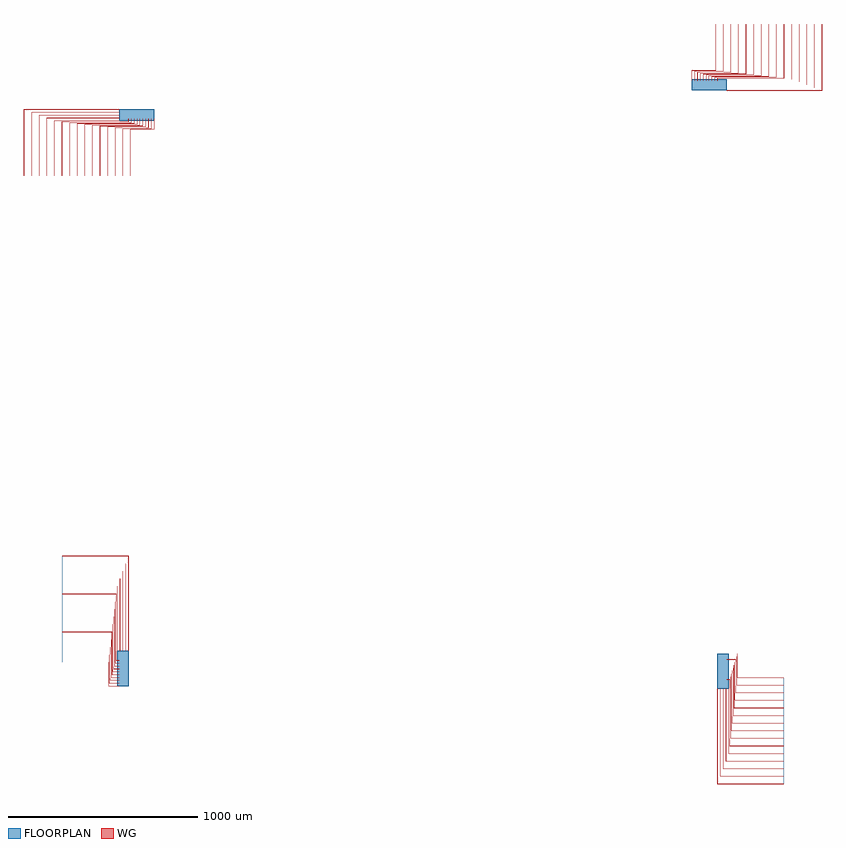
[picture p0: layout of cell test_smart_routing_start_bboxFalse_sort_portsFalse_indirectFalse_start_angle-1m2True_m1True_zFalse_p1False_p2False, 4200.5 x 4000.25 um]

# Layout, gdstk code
import gdstk
lib = gdstk.Library(unit=1e-6, precision=1e-09)
def R(c, l, rs):  # rectangles x0, y0, x1, y1
    for r in rs: c.add(gdstk.rectangle(r[:2], r[2:], *l))
def P(c, l, *ps):  # polygons
    for p in ps: c.add(gdstk.Polygon(p, *l))
WG = (1, 0)
FLOORPLAN = (10, 0)

test_smart_routing_start = lib.new_cell('test_smart_routing_start_bboxFalse_sort_portsFalse_indirectFalse_start_angle-1m2True_m1True_zFalse_p1False_p2False')
P(test_smart_routing_start, WG, [(-50.25,100),(-50.25,599.75),(-400,599.75),(-400,600.25),(-49.75,600.25),(-49.75,100)],
  [(-65.25,100),(-65.25,559.75),(-400,559.75),(-400,560.25),(-64.75,560.25),(-64.75,100)],
  [(-80.25,100),(-80.25,519.75),(-400,519.75),(-400,520.25),(-79.75,520.25),(-79.75,100)],
  [(-95.25,100),(-95.25,479.75),(-400,479.75),(-400,480.25),(-94.75,480.25),(-94.75,100)],
  [(-110.25,100),(-110.25,439.75),(-400,439.75),(-400,440.25),(-109.75,440.25),(-109.75,100)],
  [(-114.75,49.75),(-114.75,399.75),(-400,399.75),(-400,400.25),(-114.25,400.25),(-114.25,50.25),(-100,50.25),(-100,49.75)],
  [(-119.25,34.75),(-119.25,359.75),(-400,359.75),(-400,360.25),(-118.75,360.25),(-118.75,35.25),(-100,35.25),(-100,34.75)],
  [(-123.75,19.75),(-123.75,319.75),(-400,319.75),(-400,320.25),(-123.25,320.25),(-123.25,20.25),(-100,20.25),(-100,19.75)],
  [(-128.25,4.75),(-128.25,279.75),(-400,279.75),(-400,280.25),(-127.75,280.25),(-127.75,5.25),(-100,5.25),(-100,4.75)],
  [(-132.75,-10.25),(-132.75,239.75),(-400,239.75),(-400,240.25),(-132.25,240.25),(-132.25,-9.75),(-100,-9.75),(-100,-10.25)],
  [(-137.25,-25.25),(-137.25,199.75),(-400,199.75),(-400,200.25),(-136.75,200.25),(-136.75,-24.75),(-100,-24.75),(-100,-25.25)],
  [(-141.75,-40.25),(-141.75,159.75),(-400,159.75),(-400,160.25),(-141.25,160.25),(-141.25,-39.75),(-100,-39.75),(-100,-40.25)],
  [(-146.25,-55.25),(-146.25,119.75),(-400,119.75),(-400,120.25),(-145.75,120.25),(-145.75,-54.75),(-100,-54.75),(-100,-55.25)],
  [(-150.75,-70.25),(-150.75,79.75),(-400,79.75),(-400,80.25),(-150.25,80.25),(-150.25,-69.75),(-100,-69.75),(-100,-70.25)],
  [(-155.25,-85.25),(-155.25,39.75),(-400,39.75),(-400,40.25),(-154.75,40.25),(-154.75,-84.75),(-100,-84.75),(-100,-85.25)],
  [(-600.25,2600),(-600.25,2950.25),(-100,2950.25),(-100,2949.75),(-599.75,2949.75),(-599.75,2600)],
  [(-560.25,2600),(-560.25,2935.25),(-100,2935.25),(-100,2934.75),(-559.75,2934.75),(-559.75,2600)],
  [(-520.25,2600),(-520.25,2920.25),(-100,2920.25),(-100,2919.75),(-519.75,2919.75),(-519.75,2600)],
  [(-480.25,2600),(-480.25,2905.25),(-100,2905.25),(-100,2904.75),(-479.75,2904.75),(-479.75,2600)],
  [(-440.25,2600),(-440.25,2890.25),(-100,2890.25),(-100,2889.75),(-439.75,2889.75),(-439.75,2600)],
  [(-400.25,2600),(-400.25,2885.75),(-50.25,2885.75),(-50.25,2900),(-49.75,2900),(-49.75,2885.25),(-399.75,2885.25),(-399.75,2600)],
  [(-360.25,2600),(-360.25,2881.25),(-35.25,2881.25),(-35.25,2900),(-34.75,2900),(-34.75,2880.75),(-359.75,2880.75),(-359.75,2600)],
  [(-320.25,2600),(-320.25,2876.75),(-20.25,2876.75),(-20.25,2900),(-19.75,2900),(-19.75,2876.25),(-319.75,2876.25),(-319.75,2600)],
  [(-280.25,2600),(-280.25,2872.25),(-5.25,2872.25),(-5.25,2900),(-4.75,2900),(-4.75,2871.75),(-279.75,2871.75),(-279.75,2600)],
  [(-240.25,2600),(-240.25,2867.75),(9.75,2867.75),(9.75,2900),(10.25,2900),(10.25,2867.25),(-239.75,2867.25),(-239.75,2600)],
  [(-200.25,2600),(-200.25,2863.25),(24.75,2863.25),(24.75,2900),(25.25,2900),(25.25,2862.75),(-199.75,2862.75),(-199.75,2600)],
  [(-160.25,2600),(-160.25,2858.75),(39.75,2858.75),(39.75,2900),(40.25,2900),(40.25,2858.25),(-159.75,2858.25),(-159.75,2600)],
  [(-120.25,2600),(-120.25,2854.25),(54.75,2854.25),(54.75,2900),(55.25,2900),(55.25,2853.75),(-119.75,2853.75),(-119.75,2600)],
  [(-80.25,2600),(-80.25,2849.75),(69.75,2849.75),(69.75,2900),(70.25,2900),(70.25,2849.25),(-79.75,2849.25),(-79.75,2600)],
  [(-40.25,2600),(-40.25,2845.25),(84.75,2845.25),(84.75,2900),(85.25,2900),(85.25,2844.75),(-39.75,2844.75),(-39.75,2600)],
  [(3049.75,-600.25),(3049.75,-100),(3050.25,-100),(3050.25,-599.75),(3400,-599.75),(3400,-600.25)],
  [(3064.75,-560.25),(3064.75,-100),(3065.25,-100),(3065.25,-559.75),(3400,-559.75),(3400,-560.25)],
  [(3079.75,-520.25),(3079.75,-100),(3080.25,-100),(3080.25,-519.75),(3400,-519.75),(3400,-520.25)],
  [(3094.75,-480.25),(3094.75,-100),(3095.25,-100),(3095.25,-479.75),(3400,-479.75),(3400,-480.25)],
  [(3109.75,-440.25),(3109.75,-100),(3110.25,-100),(3110.25,-439.75),(3400,-439.75),(3400,-440.25)],
  [(3114.25,-400.25),(3114.25,-50.25),(3100,-50.25),(3100,-49.75),(3114.75,-49.75),(3114.75,-399.75),(3400,-399.75),(3400,-400.25)],
  [(3118.75,-360.25),(3118.75,-35.25),(3100,-35.25),(3100,-34.75),(3119.25,-34.75),(3119.25,-359.75),(3400,-359.75),(3400,-360.25)],
  [(3123.25,-320.25),(3123.25,-20.25),(3100,-20.25),(3100,-19.75),(3123.75,-19.75),(3123.75,-319.75),(3400,-319.75),(3400,-320.25)],
  [(3127.75,-280.25),(3127.75,-5.25),(3100,-5.25),(3100,-4.75),(3128.25,-4.75),(3128.25,-279.75),(3400,-279.75),(3400,-280.25)],
  [(3132.25,-240.25),(3132.25,9.75),(3100,9.75),(3100,10.25),(3132.75,10.25),(3132.75,-239.75),(3400,-239.75),(3400,-240.25)],
  [(3136.75,-200.25),(3136.75,24.75),(3100,24.75),(3100,25.25),(3137.25,25.25),(3137.25,-199.75),(3400,-199.75),(3400,-200.25)],
  [(3141.25,-160.25),(3141.25,39.75),(3100,39.75),(3100,40.25),(3141.75,40.25),(3141.75,-159.75),(3400,-159.75),(3400,-160.25)],
  [(3145.75,-120.25),(3145.75,54.75),(3100,54.75),(3100,55.25),(3146.25,55.25),(3146.25,-119.75),(3400,-119.75),(3400,-120.25)],
  [(3150.25,-80.25),(3150.25,69.75),(3100,69.75),(3100,70.25),(3150.75,70.25),(3150.75,-79.75),(3400,-79.75),(3400,-80.25)],
  [(3154.75,-40.25),(3154.75,84.75),(3100,84.75),(3100,85.25),(3155.25,85.25),(3155.25,-39.75),(3400,-39.75),(3400,-40.25)],
  [(3100,3049.75),(3100,3050.25),(3599.75,3050.25),(3599.75,3400),(3600.25,3400),(3600.25,3049.75)],
  [(3100,3064.75),(3100,3065.25),(3559.75,3065.25),(3559.75,3400),(3560.25,3400),(3560.25,3064.75)],
  [(3100,3079.75),(3100,3080.25),(3519.75,3080.25),(3519.75,3400),(3520.25,3400),(3520.25,3079.75)],
  [(3100,3094.75),(3100,3095.25),(3479.75,3095.25),(3479.75,3400),(3480.25,3400),(3480.25,3094.75)],
  [(3100,3109.75),(3100,3110.25),(3439.75,3110.25),(3439.75,3400),(3440.25,3400),(3440.25,3109.75)],
  [(3049.75,3100),(3049.75,3114.75),(3399.75,3114.75),(3399.75,3400),(3400.25,3400),(3400.25,3114.25),(3050.25,3114.25),(3050.25,3100)],
  [(3034.75,3100),(3034.75,3119.25),(3359.75,3119.25),(3359.75,3400),(3360.25,3400),(3360.25,3118.75),(3035.25,3118.75),(3035.25,3100)],
  [(3019.75,3100),(3019.75,3123.75),(3319.75,3123.75),(3319.75,3400),(3320.25,3400),(3320.25,3123.25),(3020.25,3123.25),(3020.25,3100)],
  [(3004.75,3100),(3004.75,3128.25),(3279.75,3128.25),(3279.75,3400),(3280.25,3400),(3280.25,3127.75),(3005.25,3127.75),(3005.25,3100)],
  [(2989.75,3100),(2989.75,3132.75),(3239.75,3132.75),(3239.75,3400),(3240.25,3400),(3240.25,3132.25),(2990.25,3132.25),(2990.25,3100)],
  [(2974.75,3100),(2974.75,3137.25),(3199.75,3137.25),(3199.75,3400),(3200.25,3400),(3200.25,3136.75),(2975.25,3136.75),(2975.25,3100)],
  [(2959.75,3100),(2959.75,3141.75),(3159.75,3141.75),(3159.75,3400),(3160.25,3400),(3160.25,3141.25),(2960.25,3141.25),(2960.25,3100)],
  [(2944.75,3100),(2944.75,3146.25),(3119.75,3146.25),(3119.75,3400),(3120.25,3400),(3120.25,3145.75),(2945.25,3145.75),(2945.25,3100)],
  [(2929.75,3100),(2929.75,3150.75),(3079.75,3150.75),(3079.75,3400),(3080.25,3400),(3080.25,3150.25),(2930.25,3150.25),(2930.25,3100)],
  [(2914.75,3100),(2914.75,3155.25),(3039.75,3155.25),(3039.75,3400),(3040.25,3400),(3040.25,3154.75),(2915.25,3154.75),(2915.25,3100)])
R(test_smart_routing_start, FLOORPLAN, [(3050,-100,3110,85), (-110,-85,-50,100), (-100,2890,85,2950), (2915,3050,3100,3110)])
P(test_smart_routing_start, FLOORPLAN, [(-400,40),(-400,600),(-400,600),(-400,40)],
  [(-600,2600),(-600,2600),(-40,2600),(-40,2600)],
  [(3400,-600),(3400,-40),(3400,-40),(3400,-600)],
  [(3040,3400),(3040,3400),(3600,3400),(3600,3400)])

lib.write_gds('test_smart_routing_start_bboxFalse_sort_portsFalse_indirectFalse_start_angle-1m2True_m1True_zFalse_p1False_p2False.gds')
